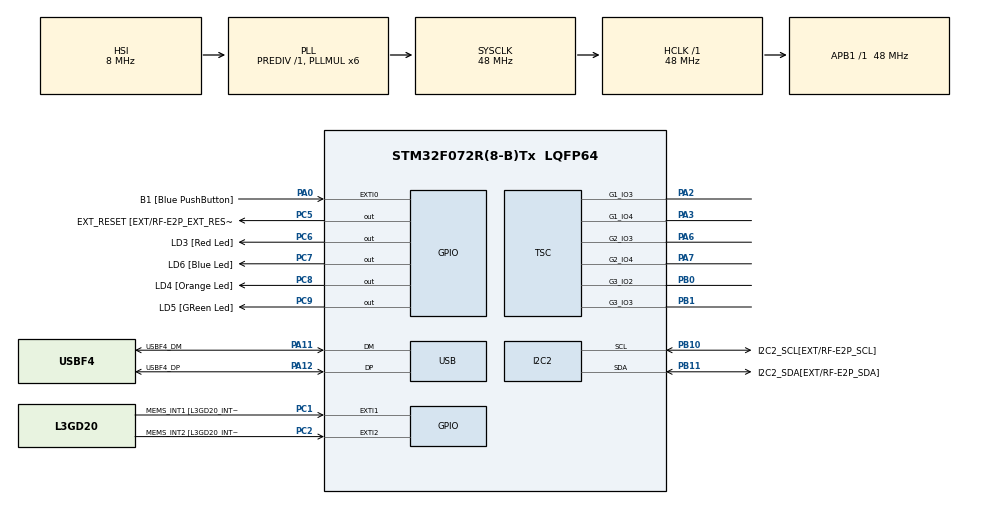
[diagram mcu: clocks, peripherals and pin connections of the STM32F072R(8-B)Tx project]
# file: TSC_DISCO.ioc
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I2C2.Timing=0x20303E5D
Mcu.Family=STM32F0
Mcu.Name=STM32F072R(8-B)Tx
Mcu.Package=LQFP64
NVIC.TSC_IRQn=true\:0\:0\:false\:false\:true\:true\:true\:true
PA0.GPIO_Label=B1 [Blue PushButton]
PA0.GPIO_ModeDefaultEXTI=GPIO_MODE_EVT_RISING
PA0.Signal=GPXTI0
PA11.GPIO_Label=USBF4_DM
PA11.Mode=Device
PA11.Signal=USB_DM
PA12.GPIO_Label=USBF4_DP
PA12.Mode=Device
PA12.Signal=USB_DP
PA13.GPIO_Label=SWDIO
PA13.Mode=Serial_Wire
PA13.Signal=SYS_SWDIO
PA14.GPIO_Label=SWCLK
PA14.Mode=Serial_Wire
PA14.Signal=SYS_SWCLK
PA2.Mode=G1_IO3-Channel
PA2.Signal=TSC_G1_IO3
PA3.Mode=G1_IO4-Sampling
PA3.Signal=TSC_G1_IO4
PA6.Mode=G2_IO3-Channel
PA6.Signal=TSC_G2_IO3
PA7.Mode=G2_IO4-Sampling
PA7.Signal=TSC_G2_IO4
PB0.Mode=G3_IO2-Channel
PB0.Signal=TSC_G3_IO2
PB1.Mode=G3_IO3-Sampling
PB1.Signal=TSC_G3_IO3
PB10.GPIO_Label=I2C2_SCL[EXT/RF-E2P_SCL]
PB10.GPIO_Pu=GPIO_PULLUP
PB10.Mode=I2C
PB10.Signal=I2C2_SCL
PB11.GPIO_Label=I2C2_SDA[EXT/RF-E2P_SDA]
PB11.GPIO_Pu=GPIO_PULLUP
PB11.Mode=I2C
PB11.Signal=I2C2_SDA
PC1.GPIO_Label=MEMS_INT1 [L3GD20_INT1]
PC1.GPIO_ModeDefaultEXTI=GPIO_MODE_EVT_RISING
PC1.Signal=GPXTI1
PC2.GPIO_Label=MEMS_INT2 [L3GD20_INT2]
PC2.GPIO_ModeDefaultEXTI=GPIO_MODE_EVT_RISING
PC2.Signal=GPXTI2
PC5.GPIO_Label=EXT_RESET [EXT/RF-E2P_EXT_RESET]
PC5.Signal=GPIO_Output
PC6.GPIO_Label=LD3 [Red Led]
PC6.Signal=GPIO_Output
PC7.GPIO_Label=LD6 [Blue Led]
PC7.Signal=GPIO_Output
PC8.GPIO_Label=LD4 [Orange Led]
PC8.Signal=GPIO_Output
PC9.GPIO_Label=LD5 [GReen Led]
PC9.Signal=GPIO_Output
ProjectManager.HeapSize=0x200
ProjectManager.StackSize=0x400
ProjectManager.TargetToolchain=STM32CubeIDE
RCC.AHBFreq_Value=48000000
RCC.APB1Freq_Value=48000000
RCC.APB1TimFreq_Value=48000000
RCC.HCLKFreq_Value=48000000
RCC.PLLMUL=RCC_PLL_MUL6
RCC.SYSCLKFreq_VALUE=48000000
RCC.SYSCLKSource=RCC_SYSCLKSOURCE_PLLCLK
TOUCHSENSING.IO_TOUCHKEY1=G1_IO3
TOUCHSENSING.IO_TOUCHKEY2=G2_IO3
TOUCHSENSING.IO_TOUCHKEY3=G3_IO2
TOUCHSENSING.TSLPRM_ACQ_MIN=5
TOUCHSENSING.TSLPRM_SENSORS_DATAS=TSLPRM_TOTAL_TOUCHKEYS 1 3 
TOUCHSENSING.TSLPRM_TKEY_CALIB_TH=90
TOUCHSENSING.TSLPRM_TKEY_DETECT_IN_TH=255
TOUCHSENSING.TSLPRM_TKEY_DETECT_OUT_TH=200
TOUCHSENSING.TSLPRM_TOTAL_TOUCHKEYS=3
TOUCHSENSING.TSLPRM_USE_PROX=0
TSC.CTPulseHighLength=TSC_CTPH_6CYCLES
TSC.CTPulseLowLength=TSC_CTPL_6CYCLES
TSC.ChannelIOs-G1_IO3=TSC_GROUP1_IO3
TSC.ChannelIOs-G1_IO3-Channel=TSC_GROUP1_IO3
TSC.ChannelIOs-G2_IO3=TSC_GROUP2_IO3
TSC.ChannelIOs-G2_IO3-Channel=TSC_GROUP2_IO3
TSC.ChannelIOs-G3_IO2=TSC_GROUP3_IO2
TSC.ChannelIOs-G3_IO2-Channel=TSC_GROUP3_IO2
TSC.MaxCountValue=TSC_MCV_16383
TSC.SamplingIOs-G1_IO4=TSC_GROUP1_IO4
TSC.SamplingIOs-G1_IO4-Sampling=TSC_GROUP1_IO4
TSC.SamplingIOs-G2_IO4=TSC_GROUP2_IO4
TSC.SamplingIOs-G2_IO4-Sampling=TSC_GROUP2_IO4
TSC.SamplingIOs-G3_IO3=TSC_GROUP3_IO3
TSC.SamplingIOs-G3_IO3-Sampling=TSC_GROUP3_IO3
USB.phy_itface=PCD_PHY_EMBEDDED
USB.speed=PCD_SPEED_FULL
VP_TOUCHSENSING_VS_TOUCHSENSING.Mode=TouchSensing_Enabled
board=STM32F072B-DISCO

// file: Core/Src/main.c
/* USER CODE BEGIN Header */
/**
  ******************************************************************************
  * @file           : main.c
  * @brief          : Main program body
  ******************************************************************************
  * @attention
  *
  * Copyright (c) 2024 STMicroelectronics.
  * All rights reserved.
  *
  * This software is licensed under terms that can be found in the LICENSE file
  * in the root directory of this software component.
  * If no LICENSE file comes with this software, it is provided AS-IS.
  *
  ******************************************************************************
  */
/* USER CODE END Header */
#include "main.h"
#include "touchsensing.h"

/* USER CODE BEGIN Includes */
#include "tsl.h"
/* USER CODE END Includes */

I2C_HandleTypeDef hi2c2;

TSC_HandleTypeDef htsc;

PCD_HandleTypeDef hpcd_USB_FS;

/* USER CODE BEGIN PV */
void Process_Sensors(tsl_user_status_t status);
/* USER CODE END PV */

void SystemClock_Config(void);
static void MX_GPIO_Init(void);
static void MX_I2C2_Init(void);
static void MX_TSC_Init(void);
static void MX_USB_PCD_Init(void);

int main(void)
{

  /* USER CODE BEGIN 1 */
  tsl_user_status_t tsl_status;

  /* USER CODE END 1 */

  /* MCU Configuration--------------------------------------------------------*/

  /* Reset of all peripherals, Initializes the Flash interface and the Systick. */
  HAL_Init();

  /* Configure the system clock */
  SystemClock_Config();

  /* Initialize all configured peripherals */
  MX_GPIO_Init();
  MX_I2C2_Init();
  MX_TSC_Init();
  MX_USB_PCD_Init();
  MX_TOUCHSENSING_Init();
  /* USER CODE BEGIN 2 */
  tsl_user_Init();
  /* USER CODE END 2 */

  /* Infinite loop */
  /* USER CODE BEGIN WHILE */
  while (1)
  {
	  tsl_status =tsl_user_Exec();
	  if(tsl_status != TSL_USER_STATUS_BUSY){
		  Process_Sensors(tsl_status);
		  HAL_Delay(10);
	  }
    /* USER CODE END WHILE */

  }
}

void SystemClock_Config(void)
{
  RCC_OscInitTypeDef RCC_OscInitStruct = {0};
  RCC_ClkInitTypeDef RCC_ClkInitStruct = {0};
  RCC_PeriphCLKInitTypeDef PeriphClkInit = {0};

  /** Initializes the RCC Oscillators according to the specified parameters
  * in the RCC_OscInitTypeDef structure.
  */
  RCC_OscInitStruct.OscillatorType = RCC_OSCILLATORTYPE_HSI|RCC_OSCILLATORTYPE_HSI48;
  RCC_OscInitStruct.HSIState = RCC_HSI_ON;
  RCC_OscInitStruct.HSI48State = RCC_HSI48_ON;
  RCC_OscInitStruct.HSICalibrationValue = RCC_HSICALIBRATION_DEFAULT;
  RCC_OscInitStruct.PLL.PLLState = RCC_PLL_ON;
  RCC_OscInitStruct.PLL.PLLSource = RCC_PLLSOURCE_HSI;
  RCC_OscInitStruct.PLL.PLLMUL = RCC_PLL_MUL6;
  RCC_OscInitStruct.PLL.PREDIV = RCC_PREDIV_DIV1;
  if (HAL_RCC_OscConfig(&RCC_OscInitStruct) != HAL_OK)
  {
    Error_Handler();
  }

  /** Initializes the CPU, AHB and APB buses clocks
  */
  RCC_ClkInitStruct.ClockType = RCC_CLOCKTYPE_HCLK|RCC_CLOCKTYPE_SYSCLK
                              |RCC_CLOCKTYPE_PCLK1;
  RCC_ClkInitStruct.SYSCLKSource = RCC_SYSCLKSOURCE_PLLCLK;
  RCC_ClkInitStruct.AHBCLKDivider = RCC_SYSCLK_DIV1;
  RCC_ClkInitStruct.APB1CLKDivider = RCC_HCLK_DIV1;

  if (HAL_RCC_ClockConfig(&RCC_ClkInitStruct, FLASH_LATENCY_1) != HAL_OK)
  {
    Error_Handler();
  }
  PeriphClkInit.PeriphClockSelection = RCC_PERIPHCLK_USB;
  PeriphClkInit.UsbClockSelection = RCC_USBCLKSOURCE_HSI48;

  if (HAL_RCCEx_PeriphCLKConfig(&PeriphClkInit) != HAL_OK)
  {
    Error_Handler();
  }
}

static void MX_I2C2_Init(void)
{

  hi2c2.Instance = I2C2;
  hi2c2.Init.Timing = 0x20303E5D;
  hi2c2.Init.OwnAddress1 = 0;
  hi2c2.Init.AddressingMode = I2C_ADDRESSINGMODE_7BIT;
  hi2c2.Init.DualAddressMode = I2C_DUALADDRESS_DISABLE;
  hi2c2.Init.OwnAddress2 = 0;
  hi2c2.Init.OwnAddress2Masks = I2C_OA2_NOMASK;
  hi2c2.Init.GeneralCallMode = I2C_GENERALCALL_DISABLE;
  hi2c2.Init.NoStretchMode = I2C_NOSTRETCH_DISABLE;
  if (HAL_I2C_Init(&hi2c2) != HAL_OK)
  {
    Error_Handler();
  }

  /** Configure Analogue filter
  */
  if (HAL_I2CEx_ConfigAnalogFilter(&hi2c2, I2C_ANALOGFILTER_ENABLE) != HAL_OK)
  {
    Error_Handler();
  }

  /** Configure Digital filter
  */
  if (HAL_I2CEx_ConfigDigitalFilter(&hi2c2, 0) != HAL_OK)
  {
    Error_Handler();
  }

}

static void MX_TSC_Init(void)
{

  /** Configure the TSC peripheral
  */
  htsc.Instance = TSC;
  htsc.Init.CTPulseHighLength = TSC_CTPH_6CYCLES;
  htsc.Init.CTPulseLowLength = TSC_CTPL_6CYCLES;
  htsc.Init.SpreadSpectrum = DISABLE;
  htsc.Init.SpreadSpectrumDeviation = 1;
  htsc.Init.SpreadSpectrumPrescaler = TSC_SS_PRESC_DIV1;
  htsc.Init.PulseGeneratorPrescaler = TSC_PG_PRESC_DIV4;
  htsc.Init.MaxCountValue = TSC_MCV_16383;
  htsc.Init.IODefaultMode = TSC_IODEF_OUT_PP_LOW;
  htsc.Init.SynchroPinPolarity = TSC_SYNC_POLARITY_FALLING;
  htsc.Init.AcquisitionMode = TSC_ACQ_MODE_NORMAL;
  htsc.Init.MaxCountInterrupt = DISABLE;
  htsc.Init.ChannelIOs = TSC_GROUP1_IO3|TSC_GROUP2_IO3|TSC_GROUP3_IO2;
  htsc.Init.ShieldIOs = 0;
  htsc.Init.SamplingIOs = TSC_GROUP1_IO4|TSC_GROUP2_IO4|TSC_GROUP3_IO3;
  if (HAL_TSC_Init(&htsc) != HAL_OK)
  {
    Error_Handler();
  }

}

static void MX_USB_PCD_Init(void)
{

  hpcd_USB_FS.Instance = USB;
  hpcd_USB_FS.Init.dev_endpoints = 8;
  hpcd_USB_FS.Init.speed = PCD_SPEED_FULL;
  hpcd_USB_FS.Init.phy_itface = PCD_PHY_EMBEDDED;
  hpcd_USB_FS.Init.low_power_enable = DISABLE;
  hpcd_USB_FS.Init.lpm_enable = DISABLE;
  hpcd_USB_FS.Init.battery_charging_enable = DISABLE;
  if (HAL_PCD_Init(&hpcd_USB_FS) != HAL_OK)
  {
    Error_Handler();
  }

}

static void MX_GPIO_Init(void)
{
  GPIO_InitTypeDef GPIO_InitStruct = {0};

  /* GPIO Ports Clock Enable */
  __HAL_RCC_GPIOC_CLK_ENABLE();
  __HAL_RCC_GPIOA_CLK_ENABLE();
  __HAL_RCC_GPIOB_CLK_ENABLE();

  /*Configure GPIO pin Output Level */
  HAL_GPIO_WritePin(GPIOC, EXT_RESET_Pin|LD3_Pin|LD6_Pin|LD4_Pin
                          |LD5_Pin, GPIO_PIN_RESET);

  /*Configure GPIO pins : MEMS_INT1_Pin MEMS_INT2_Pin */
  GPIO_InitStruct.Pin = MEMS_INT1_Pin|MEMS_INT2_Pin;
  GPIO_InitStruct.Mode = GPIO_MODE_EVT_RISING;
  GPIO_InitStruct.Pull = GPIO_NOPULL;
  HAL_GPIO_Init(GPIOC, &GPIO_InitStruct);

  /*Configure GPIO pin : B1_Pin */
  GPIO_InitStruct.Pin = B1_Pin;
  GPIO_InitStruct.Mode = GPIO_MODE_EVT_RISING;
  GPIO_InitStruct.Pull = GPIO_NOPULL;
  HAL_GPIO_Init(B1_GPIO_Port, &GPIO_InitStruct);

  /*Configure GPIO pins : EXT_RESET_Pin LD3_Pin LD6_Pin LD4_Pin
                           LD5_Pin */
  GPIO_InitStruct.Pin = EXT_RESET_Pin|LD3_Pin|LD6_Pin|LD4_Pin
                          |LD5_Pin;
  GPIO_InitStruct.Mode = GPIO_MODE_OUTPUT_PP;
  GPIO_InitStruct.Pull = GPIO_NOPULL;
  GPIO_InitStruct.Speed = GPIO_SPEED_FREQ_LOW;
  HAL_GPIO_Init(GPIOC, &GPIO_InitStruct);

}

/* USER CODE BEGIN 4 */
void Process_Sensors(tsl_user_status_t status){
	if (MyTKeys[0].p_Data->StateId == TSL_STATEID_DETECT) HAL_GPIO_WritePin(LD6_GPIO_Port, LD6_Pin, GPIO_PIN_SET);
	else HAL_GPIO_WritePin(LD6_GPIO_Port, LD6_Pin, GPIO_PIN_RESET);

	switch(status){

	case TSL_USER_STATUS_OK_ECS_OFF:
		HAL_GPIO_WritePin(LD3_GPIO_Port, LD3_Pin, GPIO_PIN_RESET);
		break;

	case TSL_USER_STATUS_OK_ECS_ON:
		HAL_GPIO_TogglePin(LD3_GPIO_Port, LD3_Pin);
		break;

	default:
		break;
	}

}

/* USER CODE END 4 */

void Error_Handler(void)
{
  __disable_irq();
  while (1)
  {
  }
}
